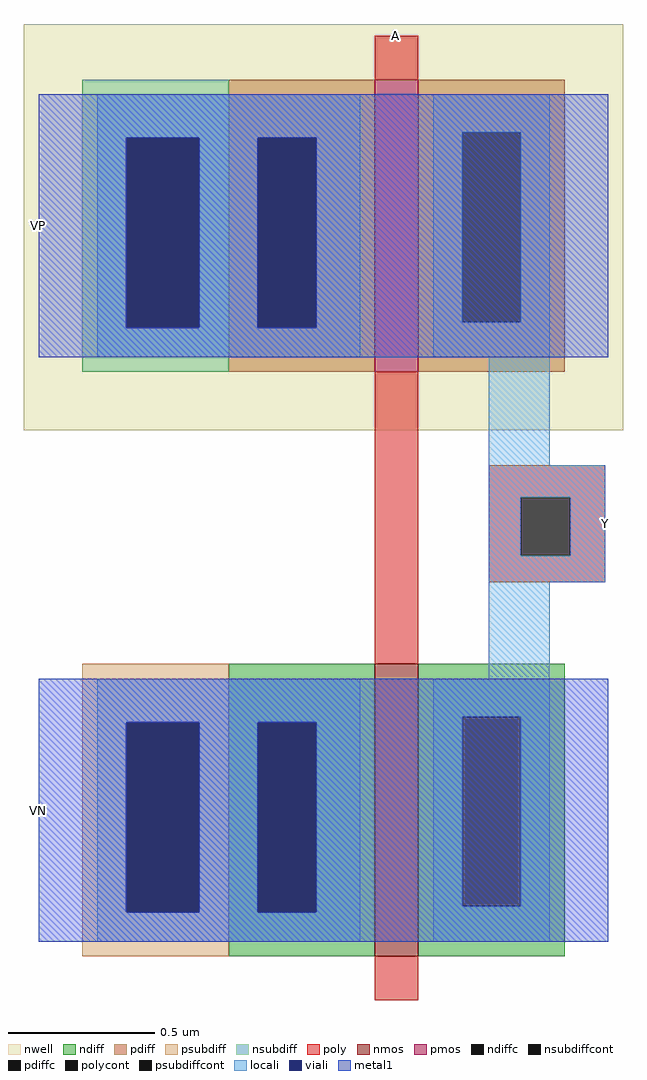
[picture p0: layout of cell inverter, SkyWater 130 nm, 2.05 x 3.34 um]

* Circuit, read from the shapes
.subckt inverter VN VP A Y
XM1 Y A VN VN sky130_fd_pr__nfet_01v8 w=1 l=0.15
XM2 Y A VP VP sky130_fd_pr__pfet_01v8 w=1 l=0.15
.ends

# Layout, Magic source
magic
tech sky130A
<< nwell >>
rect -120 180 85 319
<< nmos >>
rect 0 0 15 100
<< pmos >>
rect 0 200 15 300
<< ndiff >>
rect -50 80 0 100
rect -50 15 -40 80
rect -20 15 0 80
rect -50 0 0 15
rect 15 82 65 100
rect 15 17 30 82
rect 50 17 65 82
rect 15 0 65 17
<< pdiff >>
rect -50 280 0 300
rect -50 215 -40 280
rect -20 215 0 280
rect -50 200 0 215
rect 15 282 65 300
rect 15 217 30 282
rect 50 217 65 282
rect 15 200 65 217
<< ndiffc >>
rect -40 15 -20 80
rect 30 17 50 82
<< pdiffc >>
rect -40 215 -20 280
rect 30 217 50 282
<< psubdiff >>
rect -100 80 -50 100
rect -100 15 -85 80
rect -60 15 -50 80
rect -100 0 -50 15
<< nsubdiff >>
rect -100 280 -50 300
rect -100 215 -85 280
rect -60 215 -50 280
rect -100 200 -50 215
<< psubdiffcont >>
rect -85 15 -60 80
<< nsubdiffcont >>
rect -85 215 -60 280
<< poly >>
rect 0 300 15 315
rect 0 100 15 200
rect 39 157 79 168
rect 39 137 50 157
rect 67 137 79 157
rect 39 128 79 137
rect 0 -15 15 0
<< polycont >>
rect 50 137 67 157
<< locali >>
rect -95 280 -5 295
rect -95 215 -85 280
rect -60 215 -40 280
rect -20 215 -5 280
rect -95 205 -5 215
rect 20 282 60 295
rect 20 217 30 282
rect 50 217 60 282
rect 20 205 60 217
rect 39 168 60 205
rect 39 157 79 168
rect 39 137 50 157
rect 67 137 79 157
rect 39 128 79 137
rect 39 95 60 128
rect -95 80 -5 95
rect -95 15 -85 80
rect -60 15 -40 80
rect -20 15 -5 80
rect -95 5 -5 15
rect 20 82 60 95
rect 20 17 30 82
rect 50 17 60 82
rect 20 5 60 17
<< viali >>
rect -85 215 -60 280
rect -40 215 -20 280
rect -85 15 -60 80
rect -40 15 -20 80
<< metal1 >>
rect -115 280 80 295
rect -115 215 -85 280
rect -60 215 -40 280
rect -20 215 80 280
rect -115 205 80 215
rect -115 80 80 95
rect -115 15 -85 80
rect -60 15 -40 80
rect -20 15 80 80
rect -115 5 80 15
<< labels >>
rlabel metal1 -115 50 -115 50 7 VN
port 1 w
rlabel metal1 -115 250 -115 250 7 VP
port 2 w
rlabel poly 7 315 7 315 1 A
port 3 n
rlabel locali 79 148 79 148 3 Y
port 4 e
<< end >>
